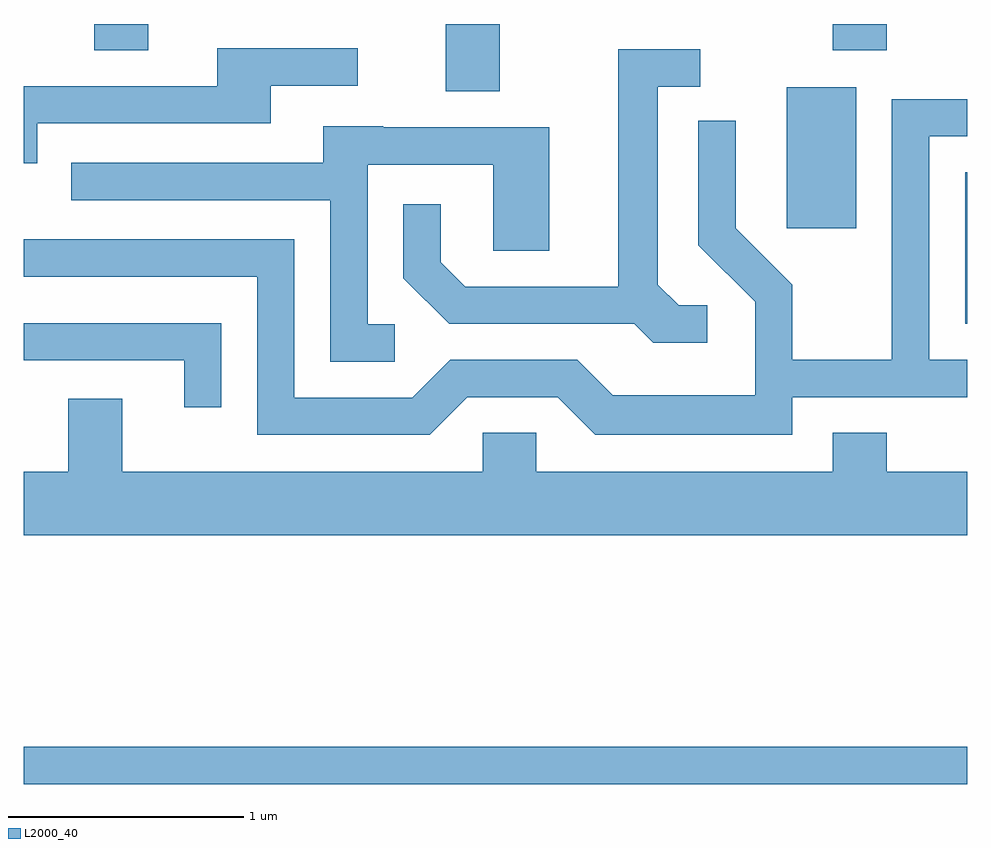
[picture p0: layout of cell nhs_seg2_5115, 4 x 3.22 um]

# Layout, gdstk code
import gdstk
lib = gdstk.Library(unit=1e-6, precision=1e-09)
def R(c, l, rs):  # rectangles x0, y0, x1, y1
    for r in rs: c.add(gdstk.rectangle(r[:2], r[2:], *l))
def P(c, l, *ps):  # polygons
    for p in ps: c.add(gdstk.Polygon(p, *l))
L2000_40 = (2000, 40)

nhs_seg2_5115 = lib.new_cell('nhs_seg2_5115')
R(nhs_seg2_5115, L2000_40, [(335.611,1060.581,339.611,1060.739), (339.601,1062.531,339.611,1063.174), (338.846,1062.936,339.139,1063.534), (337.401,1063.516,337.629,1063.802), (335.911,1063.691,336.139,1063.802), (339.041,1063.691,339.269,1063.802)])
P(nhs_seg2_5115, L2000_40, [(335.669,1063.381),(336.659,1063.381),(336.659,1063.541),(337.028,1063.541),(337.028,1063.699),(336.431,1063.699),(336.431,1063.539),(335.611,1063.539),(335.611,1063.211),(335.669,1063.211)],
  [(338.508,1062.609),(338.387,1062.609),(338.299,1062.697),(338.299,1063.536),(338.478,1063.536),(338.478,1063.694),(338.131,1063.694),(338.131,1062.689),(337.482,1062.689),(337.379,1062.792),(337.379,1063.038),(337.221,1063.038),(337.221,1062.724),(337.414,1062.531),(338.199,1062.531),(338.279,1062.451),(338.508,1062.451)],
  [(337.492,1062.221),(337.874,1062.221),(338.034,1062.061),(338.869,1062.061),(338.869,1062.221),(339.611,1062.221),(339.611,1062.379),(339.449,1062.379),(339.449,1063.326),(339.611,1063.326),(339.611,1063.484),(339.291,1063.484),(339.291,1062.379),(338.869,1062.379),(338.869,1062.697),(338.629,1062.937),(338.629,1063.393),(338.471,1063.393),(338.471,1062.864),(338.711,1062.624),(338.711,1062.229),(338.107,1062.229),(337.957,1062.379),(337.419,1062.379),(337.259,1062.219),(336.759,1062.219),(336.759,1062.889),(335.611,1062.889),(335.611,1062.731),(336.601,1062.731),(336.601,1062.061),(337.332,1062.061)],
  [(337.183,1062.529),(337.069,1062.529),(337.069,1063.206),(337.601,1063.206),(337.601,1062.841),(337.839,1062.841),(337.839,1063.364),(337.135,1063.364),(337.135,1063.369),(336.881,1063.369),(336.881,1063.214),(335.813,1063.214),(335.813,1063.056),(336.911,1063.056),(336.911,1062.371),(337.183,1062.371)],
  [(336.449,1062.534),(335.611,1062.534),(335.611,1062.376),(336.291,1062.376),(336.291,1062.178),(336.449,1062.178)],
  [(339.611,1061.904),(339.269,1061.904),(339.269,1062.069),(339.041,1062.069),(339.041,1061.904),(337.784,1061.904),(337.784,1062.069),(337.556,1062.069),(337.556,1061.904),(336.029,1061.904),(336.029,1062.214),(335.801,1062.214),(335.801,1061.904),(335.611,1061.904),(335.611,1061.636),(339.611,1061.636)])

lib.write_gds('nhs_seg2_5115.gds')
